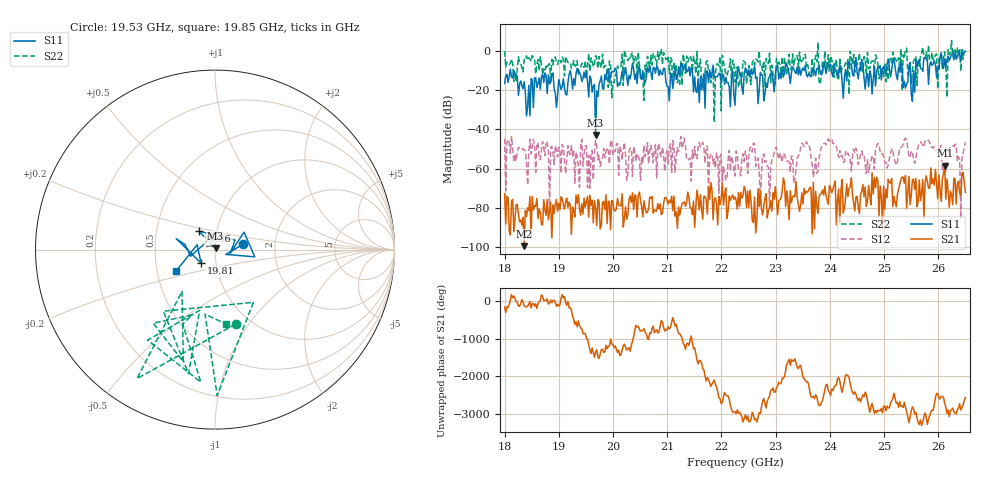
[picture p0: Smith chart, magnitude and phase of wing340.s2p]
!Keysight Technologies,N5242B,MY47200105,A.14.00.23
!Date: Friday, May 10, 2024 11:18:48
!Correction: S11(C  2-Port  )
!S21(C  2-Port  )
!S12(C  2-Port  )
!S22(C  2-Port  )
!S2P File: Measurement: :
# Hz S  RI  R 50
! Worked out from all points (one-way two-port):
!   401 points, 18 GHz to 26.5 GHz, reference 50 ohm
!   highest |S21| = -58.44 dB at 26.12 GHz (marker M1); lowest = -99.4 dB at 18.36 GHz (marker M2)
!   lowest |S11| = -42.9 dB at 19.68 GHz (marker M3), VSWR 1.01, Z = 50.3 + j0.665 ohm
!   |S11| at or under -10 dB: 18.11 GHz to 19.33 GHz (1.222 GHz wide, 6.53 % of centre); 19.35 GHz to 19.9 GHz (550.7 MHz wide, 2.81 % of centre); 21.86 GHz to 22.3 GHz (444.5 MHz wide, 2.01 % of centre) (the widest 3 of 57)
!   |S22| runs from -36.4 to 5.1 dB; largest |S21 - S12| = 0.0066
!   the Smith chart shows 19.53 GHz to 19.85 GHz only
!   S11 on the Smith chart (normalised r, x): 19.53 GHz: 1.37, +0.08; 19.66 GHz: 0.82, +0.17; 19.81 GHz: 0.85, -0.13; 19.85 GHz: 0.63, -0.16
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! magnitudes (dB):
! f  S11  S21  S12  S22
! 18 GHz  -16.7  -72.8  -44.7  -0.3
! 18.36 GHz  -15.8  -99.4  -50.3  -4.5
! 19.42 GHz  -15.7  -77.9  -45.1  -6.5
! 19.53 GHz  -15.9  -74.1  -69.7  -7.3
! 19.66 GHz  -17.2  -76.1  -51.1  -6.9
! 19.68 GHz  -42.9  -80.2  -45.8  -2.6
! 19.81 GHz  -19.4  -77.1  -54.4  -1.8
! 19.85 GHz  -12.2  -80.8  -54.5  -7.6
! 20.55 GHz  -10.2  -84.6  -57.2  -13.7
! 20.85 GHz  -12.7  -80.5  -47.1  -4.5
! 21.23 GHz  -12.5  -83.6  -48.3  -17.3
! 21.4 GHz  -8.3  -74.8  -55.6  -4.2
! 21.85 GHz  -7.4  -86.0  -57.6  -8.9
! 22.25 GHz  -27.8  -74.4  -63.8  -16.0
! 23.38 GHz  -11.6  -66.5  -60.7  -2.6
! 23.52 GHz  -10.2  -70.0  -48.9  -3.2
! 23.67 GHz  -10.7  -93.1  -57.7  -3.9
! 23.99 GHz  -8.1  -68.5  -46.2  -11.2
! 25.1 GHz  -9.0  -67.1  -54.8  -6.2
! 25.8 GHz  -5.5  -66.6  -46.0  -4.9
! 26.12 GHz  -4.2  -58.4  -60.7  -0.7
! 26.5 GHz  -0.4  -72.0  -46.6  0.4
